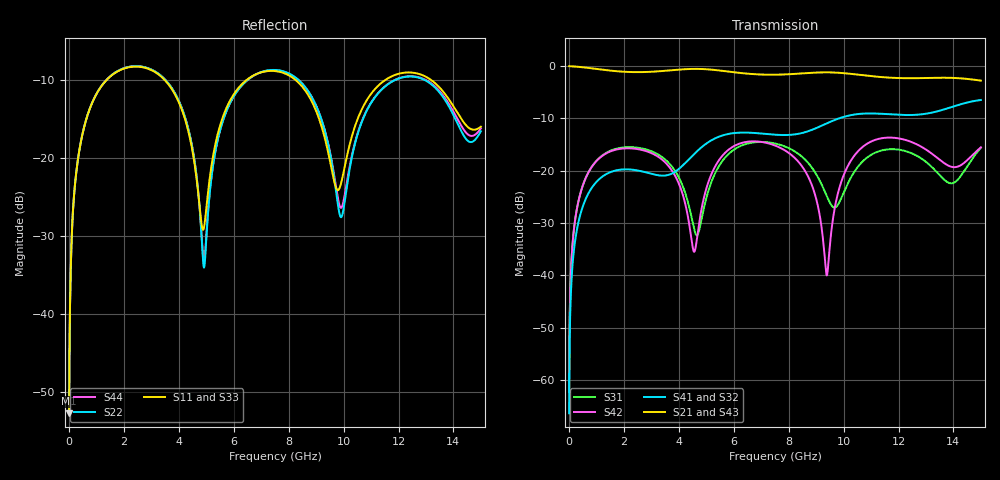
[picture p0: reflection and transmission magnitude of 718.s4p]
! Created with skrf 1.8.0 (http://scikit-rf.org).
# GHz S RI R 50.0
!freq ReS11 ImS11 ReS12 ImS12 ReS13 ImS13
! ReS14 ImS14
! ReS21 ImS21 ReS22 ImS22 ReS23 ImS23
! ReS24 ImS24
! ReS31 ImS31 ReS32 ImS32 ReS33 ImS33
! ReS34 ImS34
! ReS41 ImS41 ReS42 ImS42 ReS43 ImS43
! ReS44 ImS44
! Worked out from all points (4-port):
!   2499 points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, 5 MHz to 15 GHz, reference 50 ohm
!   strongest paths, dB at 5 MHz, 3.476 GHz, 7.19 GHz, 11.1 GHz, 15 GHz:
!     S21: 0.0, -0.9, -1.6, -2.0, -2.8
!     S43: 0.0, -0.9, -1.6, -2.0, -2.8
!     S41: -66.4, -20.9, -13.0, -9.1, -6.5
!     S32: -66.4, -21.0, -13.1, -9.1, -6.5
!     S42: -62.3, -18.3, -14.7, -14.2, -15.5
!     S31: -62.3, -17.7, -14.5, -16.7, -15.6
!   lowest |S11| = -52.8 dB at 5 MHz (marker M1), VSWR 1.00, Z = 50.2 + j0.139 ohm
!   |S11| at or under -10 dB: 3.5 GHz to 6.448 GHz (2.949 GHz wide, 59.3 % of centre); 8.271 GHz to 11.5 GHz (3.225 GHz wide, 32.6 % of centre); 13.21 GHz to end of sweep (the widest 3 of 4)
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0.005  0.00183 0.00138  0.9981 -0.00355  9.36e-05 0.00076  -9.06e-05 -0.000471
       0.9981 -0.00355  0.00183 0.00138  -9.06e-05 -0.000471  9.35e-05 0.00076
       9.36e-05 0.00076  -9.06e-05 -0.000471  0.00183 0.00138  0.9981 -0.00355
       -9.06e-05 -0.000471  9.35e-05 0.00076  0.9981 -0.00355  0.00183 0.00138
0.3126303  0.0288 0.09  0.9604 -0.22  0.0143 0.0444  -0.0116 -0.0271
           0.9604 -0.22  0.0289 0.09  -0.0116 -0.0271  0.0137 0.0446
           0.0143 0.0444  -0.0116 -0.0271  0.0288 0.09  0.9604 -0.22
           -0.0116 -0.0271  0.0137 0.0446  0.9604 -0.22  0.0289 0.09
1.419341  0.2739 0.1746  0.5364 -0.7355  0.1394 0.059  -0.0945 -0.00367
          0.5364 -0.7355  0.2762 0.173  -0.0944 -0.00391  0.1331 0.0678
          0.1394 0.059  -0.0944 -0.00391  0.274 0.1746  0.5364 -0.7355
          -0.0945 -0.00367  0.1331 0.0678  0.5364 -0.7355  0.2761 0.1731
4.914548  0.035 0.00699  -0.9338 -0.0626  -0.0131 0.0421  -0.0045 0.1747
          -0.9338 -0.0626  0.0197 -0.00149  -0.00868 0.1746  0.0266 0.0485
          -0.0131 0.0421  -0.00868 0.1746  0.0333 0.00736  -0.9338 -0.0623
          -0.0045 0.1747  0.0266 0.0485  -0.9338 -0.0623  0.0212 -0.00127
7.465611  0.3635 -0.0105  -0.0756 0.8236  0.1611 -0.0866  0.2141 -0.0556
          -0.0756 0.8236  0.3691 -0.00928  0.2135 -0.0476  0.163 -0.0653
          0.1611 -0.0866  0.2135 -0.0476  0.3657 -0.0121  -0.0754 0.8233
          0.2141 -0.0556  0.163 -0.0653  -0.0754 0.8233  0.3685 -0.00794
9.38516  0.0867 -0.083  0.7748 0.3982  -0.0463 -0.034  0.115 -0.2589
         0.7748 0.3982  0.0771 -0.1104  0.128 -0.2526  0.00994 -0.000992
         -0.0463 -0.034  0.128 -0.2526  0.0807 -0.0861  0.7749 0.398
         0.115 -0.2589  0.00994 -0.000992  0.7749 0.398  0.0824 -0.108
15  0.1593 0.00285  -0.7221 -0.082  0.0352 0.162  -0.0191 0.4738
    -0.7221 -0.082  0.1418 0.0457  -0.0514 0.4727  -0.0181 0.1661
    0.0352 0.162  -0.0514 0.4727  0.1534 0.00566  -0.722 -0.0828
    -0.0191 0.4738  -0.0181 0.1661  -0.722 -0.0828  0.1514 0.0346
